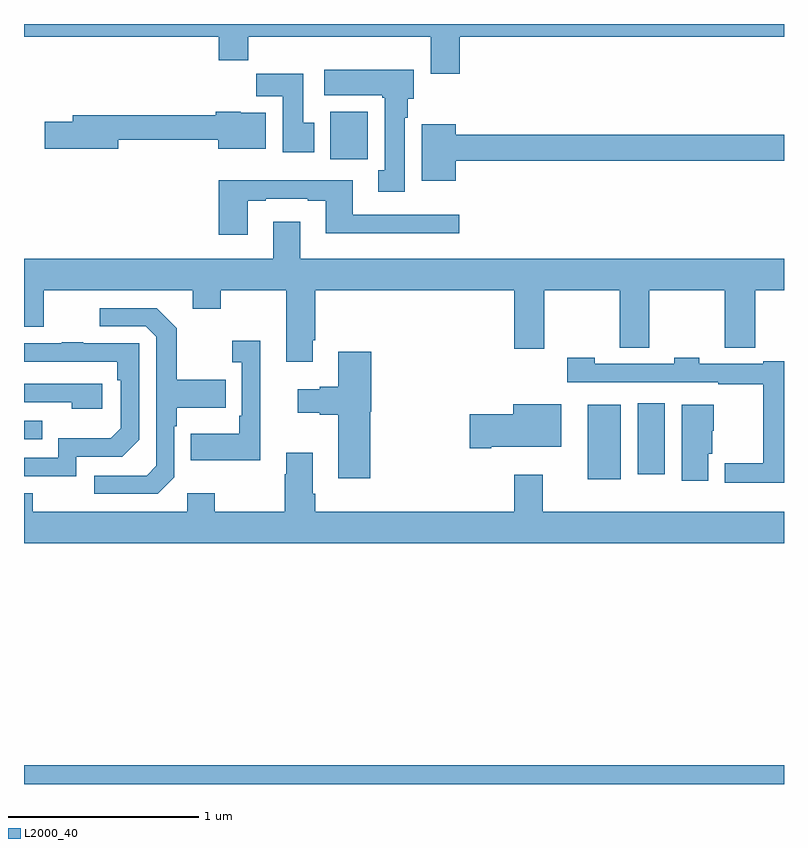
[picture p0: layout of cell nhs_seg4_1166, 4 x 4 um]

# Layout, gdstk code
import gdstk
lib = gdstk.Library(unit=1e-6, precision=1e-09)
def R(c, l, rs):  # rectangles x0, y0, x1, y1
    for r in rs: c.add(gdstk.rectangle(r[:2], r[2:], *l))
def P(c, l, *ps):  # polygons
    for p in ps: c.add(gdstk.Polygon(p, *l))
L2000_40 = (2000, 40)

nhs_seg4_1166 = lib.new_cell('nhs_seg4_1166')
R(nhs_seg4_1166, L2000_40, [(171,780.9,175,781), (173.966,782.504,174.142,782.896), (174.23,782.529,174.373,782.905), (171,782.715,171.095,782.811), (172.613,784.188,172.809,784.438)])
P(nhs_seg4_1166, L2000_40, [(173.294,784.832),(175,784.832),(175,784.9),(171,784.9),(171,784.832),(172.025,784.832),(172.025,784.708),(172.181,784.708),(172.181,784.832),(173.141,784.832),(173.141,784.638),(173.294,784.638)],
  [(173.005,784.406),(173.02,784.406),(173.02,784.506),(173.05,784.506),(173.05,784.66),(172.581,784.66),(172.581,784.526),(172.885,784.526),(172.885,784.513),(172.898,784.513),(172.898,784.129),(172.865,784.129),(172.865,784.017),(173.005,784.017)],
  [(172.528,784.38),(172.471,784.38),(172.471,784.639),(172.222,784.639),(172.222,784.52),(172.361,784.52),(172.361,784.224),(172.528,784.224)],
  [(171.496,784.291),(172.022,784.291),(172.022,784.244),(172.273,784.244),(172.273,784.432),(172.14,784.432),(172.14,784.438),(172.01,784.438),(172.01,784.42),(171.257,784.42),(171.257,784.386),(171.108,784.386),(171.108,784.244),(171.496,784.244)],
  [(173.272,784.18),(175,784.18),(175,784.316),(173.272,784.316),(173.272,784.372),(173.093,784.372),(173.093,784.076),(173.272,784.076)],
  [(172.177,783.969),(172.273,783.969),(172.273,783.981),(172.493,783.981),(172.493,783.969),(172.589,783.969),(172.589,783.8),(173.29,783.8),(173.29,783.897),(172.729,783.897),(172.729,784.078),(172.025,784.078),(172.025,783.792),(172.177,783.792)],
  [(172.519,783.235),(172.532,783.235),(172.532,783.5),(173.579,783.5),(173.579,783.192),(173.739,783.192),(173.739,783.5),(174.136,783.5),(174.136,783.196),(174.29,783.196),(174.29,783.5),(174.688,783.5),(174.688,783.196),(174.848,783.196),(174.848,783.5),(175,783.5),(175,783.664),(172.453,783.664),(172.453,783.859),(172.313,783.859),(172.313,783.664),(171,783.664),(171,783.306),(171.103,783.306),(171.103,783.5),(171.887,783.5),(171.887,783.401),(172.035,783.401),(172.035,783.5),(172.379,783.5),(172.379,783.123),(172.519,783.123)],
  [(171.792,782.514),(171.792,782.783),(171.805,782.783),(171.805,782.879),(172.061,782.879),(172.061,783.027),(171.805,783.027),(171.805,783.299),(171.699,783.405),(171.399,783.405),(171.399,783.309),(171.642,783.309),(171.696,783.255),(171.696,782.574),(171.645,782.523),(171.369,782.523),(171.369,782.427),(171.705,782.427)],
  [(172.244,783.232),(172.095,783.232),(172.095,783.119),(172.146,783.119),(172.146,782.839),(172.134,782.839),(172.134,782.743),(171.877,782.743),(171.877,782.603),(172.244,782.603)],
  [(171.276,782.622),(171.516,782.622),(171.606,782.712),(171.606,783.219),(171.311,783.219),(171.311,783.224),(171.199,783.224),(171.199,783.219),(171,783.219),(171,783.123),(171.49,783.123),(171.49,783.026),(171.51,783.026),(171.51,782.772),(171.457,782.719),(171.18,782.719),(171.18,782.616),(171,782.616),(171,782.52),(171.276,782.52)],
  [(172.823,782.859),(172.828,782.859),(172.828,783.175),(172.655,783.175),(172.655,782.99),(172.556,782.99),(172.556,782.977),(172.44,782.977),(172.44,782.855),(172.556,782.855),(172.556,782.843),(172.655,782.843),(172.655,782.508),(172.823,782.508)],
  [(175,783.124),(174.89,783.124),(174.89,783.111),(174.555,783.111),(174.555,783.144),(174.423,783.144),(174.423,783.111),(174.003,783.111),(174.003,783.144),(173.859,783.144),(173.859,783.015),(174.655,783.015),(174.655,783.003),(174.89,783.003),(174.89,782.588),(174.687,782.588),(174.687,782.486),(175,782.486)],
  [(171.412,783.006),(171,783.006),(171,782.91),(171.251,782.91),(171.251,782.876),(171.412,782.876)],
  [(173.458,782.675),(173.827,782.675),(173.827,782.899),(173.576,782.899),(173.576,782.846),(173.346,782.846),(173.346,782.668),(173.458,782.668)],
  [(174.601,782.637),(174.622,782.637),(174.622,782.76),(174.631,782.76),(174.631,782.896),(174.461,782.896),(174.461,782.496),(174.601,782.496)],
  [(175,782.332),(173.731,782.332),(173.731,782.527),(173.579,782.527),(173.579,782.332),(172.532,782.332),(172.532,782.428),(172.519,782.428),(172.519,782.644),(172.379,782.644),(172.379,782.531),(172.372,782.531),(172.372,782.332),(172.005,782.332),(172.005,782.431),(171.858,782.431),(171.858,782.332),(171.045,782.332),(171.045,782.431),(171,782.431),(171,782.168),(175,782.168)])

lib.write_gds('nhs_seg4_1166.gds')
